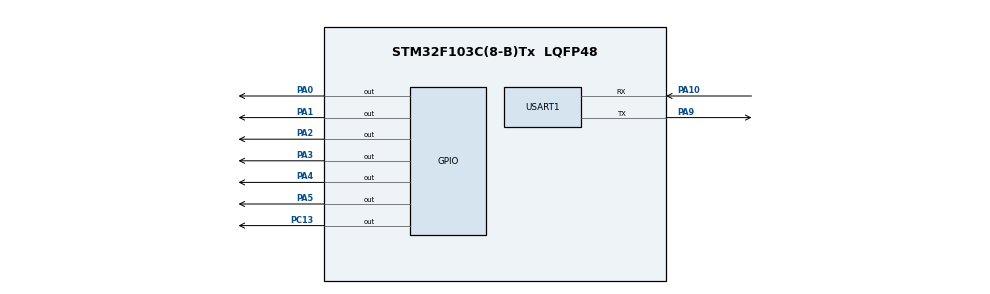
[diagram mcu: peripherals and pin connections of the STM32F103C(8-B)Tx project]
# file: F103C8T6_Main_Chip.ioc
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Mcu.Family=STM32F1
Mcu.Name=STM32F103C(8-B)Tx
Mcu.Package=LQFP48
NVIC.PriorityGroup=NVIC_PRIORITYGROUP_4
NVIC.TIM4_IRQn=true\:15\:0\:false\:false\:true\:false\:true\:true
NVIC.TimeBase=TIM4_IRQn
NVIC.TimeBaseIP=TIM4
NVIC.USART1_IRQn=true\:0\:0\:false\:false\:true\:true\:true\:true
PA0-WKUP.Signal=GPIO_Output
PA1.Signal=GPIO_Output
PA10.Mode=Asynchronous
PA10.Signal=USART1_RX
PA13.Mode=Serial_Wire
PA13.Signal=SYS_JTMS-SWDIO
PA14.Mode=Serial_Wire
PA14.Signal=SYS_JTCK-SWCLK
PA2.Signal=GPIO_Output
PA3.Signal=GPIO_Output
PA4.Signal=GPIO_Output
PA5.Signal=GPIO_Output
PA9.Mode=Asynchronous
PA9.Signal=USART1_TX
PC13-TAMPER-RTC.Signal=GPIO_Output
ProjectManager.HeapSize=0x200
ProjectManager.StackSize=0x400
ProjectManager.TargetToolchain=STM32CubeIDE
RCC.APB1Freq_Value=8000000
RCC.APB2Freq_Value=8000000
USART1.VirtualMode=VM_ASYNC
VP_SYS_VS_tim4.Mode=TIM4
board=custom

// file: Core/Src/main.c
/* USER CODE BEGIN Header */
/**
  ******************************************************************************
  * @file           : main.c
  * @brief          : Main program body
  ******************************************************************************
  * @attention
  *
  * Copyright (c) 2026 STMicroelectronics.
  * All rights reserved.
  *
  * This software is licensed under terms that can be found in the LICENSE file
  * in the root directory of this software component.
  * If no LICENSE file comes with this software, it is provided AS-IS.
  *
  ******************************************************************************
  */
/* USER CODE END Header */
#include "main.h"

/* USER CODE BEGIN Includes */
#include "FreeRTOS.h"
#include "task.h"
#include "queue.h"
#include "PlcConfig.h"
#include "GpioCommon.h"
#include "PlcGpio.h"
#include "PlcMainExecuteLogic.h"
#include "UartCommon.h"
#include "MainComn2WifiCard.h"
/* USER CODE END Includes */

UART_HandleTypeDef huart1;

void SystemClock_Config(void);
static void MX_GPIO_Init(void);
static void MX_USART1_UART_Init(void);

/* USER CODE BEGIN 0 */
/* ======= Varibale =======*/
uint8_t uart_rx_data;

/* For Queue */
QueueHandle_t xCommunicationQueueHandle;

/* ======= Prototype Function =======*/
void PLCScanTask(void* const pvParameters);
void CommunicationTask(void* const pvParameters);
void WatchdogTask(void* const pvParameters);
/* USER CODE END 0 */

int main(void)
{

  /* MCU Configuration--------------------------------------------------------*/

  /* Reset of all peripherals, Initializes the Flash interface and the Systick. */
  HAL_Init();

  /* Configure the system clock */
  SystemClock_Config();

  /* Initialize all configured peripherals */
  MX_GPIO_Init();
  MX_USART1_UART_Init();
  /* USER CODE BEGIN 2 */
  // Initialize all peripheral
  int8_t initialization_state = 1;
  int8_t initialization_variable = 1;
  int8_t initialization_bsp_uart = 0;

  initialization_state = MappingBspGpioOutputsToInternalOutputs() & 0x01;
  initialization_variable = InitializeVariable() & 0x01;
  initialization_bsp_uart = InitBspUart(&huart1) & 0x01;
  InitializeInternalFrameStructure();

  if ((initialization_state != 1) || \
	(initialization_variable != 1) || \
	(initialization_bsp_uart != 0))
  {
	  // Handle something here
  }

  /* Create Queue */
  xCommunicationQueueHandle = xQueueCreate(5, sizeof(uint8_t));
  configASSERT(xCommunicationQueueHandle != NULL);

  /* Create Tasks */
  BaseType_t xPLCScanReturned;
  BaseType_t xCommunicationReturned;
  BaseType_t xWatchdogReturned;

  xPLCScanReturned = xTaskCreate(PLCScanTask, "PLC Scan Task", 512, NULL, configMAX_PRIORITIES - 1, NULL);
  configASSERT(xPLCScanReturned == pdPASS);

  xCommunicationReturned = xTaskCreate(CommunicationTask, "Communication Task", 256, NULL, configMAX_PRIORITIES - 2, NULL);
  configASSERT(xCommunicationReturned == pdPASS);

  xWatchdogReturned = xTaskCreate(WatchdogTask, "Watchdog Task", 256, NULL, configMAX_PRIORITIES - 3, NULL);
  configASSERT(xWatchdogReturned == pdPASS);

  /* ======= Start Interrupt UART ======= */
  HAL_UART_Receive_IT(&huart1, &uart_rx_data, 1);

  /* ======= Start Scheduler ======= */
  vTaskStartScheduler();
  /* USER CODE END 2 */

  /* Infinite loop */
  while (1)
  {

  }
}

void SystemClock_Config(void)
{
  RCC_OscInitTypeDef RCC_OscInitStruct = {0};
  RCC_ClkInitTypeDef RCC_ClkInitStruct = {0};

  /** Initializes the RCC Oscillators according to the specified parameters
  * in the RCC_OscInitTypeDef structure.
  */
  RCC_OscInitStruct.OscillatorType = RCC_OSCILLATORTYPE_HSI;
  RCC_OscInitStruct.HSIState = RCC_HSI_ON;
  RCC_OscInitStruct.HSICalibrationValue = RCC_HSICALIBRATION_DEFAULT;
  RCC_OscInitStruct.PLL.PLLState = RCC_PLL_NONE;
  if (HAL_RCC_OscConfig(&RCC_OscInitStruct) != HAL_OK)
  {
    Error_Handler();
  }

  /** Initializes the CPU, AHB and APB buses clocks
  */
  RCC_ClkInitStruct.ClockType = RCC_CLOCKTYPE_HCLK|RCC_CLOCKTYPE_SYSCLK
                              |RCC_CLOCKTYPE_PCLK1|RCC_CLOCKTYPE_PCLK2;
  RCC_ClkInitStruct.SYSCLKSource = RCC_SYSCLKSOURCE_HSI;
  RCC_ClkInitStruct.AHBCLKDivider = RCC_SYSCLK_DIV1;
  RCC_ClkInitStruct.APB1CLKDivider = RCC_HCLK_DIV1;
  RCC_ClkInitStruct.APB2CLKDivider = RCC_HCLK_DIV1;

  if (HAL_RCC_ClockConfig(&RCC_ClkInitStruct, FLASH_LATENCY_0) != HAL_OK)
  {
    Error_Handler();
  }
}

static void MX_USART1_UART_Init(void)
{

  huart1.Instance = USART1;
  huart1.Init.BaudRate = 115200;
  huart1.Init.WordLength = UART_WORDLENGTH_8B;
  huart1.Init.StopBits = UART_STOPBITS_1;
  huart1.Init.Parity = UART_PARITY_NONE;
  huart1.Init.Mode = UART_MODE_TX_RX;
  huart1.Init.HwFlowCtl = UART_HWCONTROL_NONE;
  huart1.Init.OverSampling = UART_OVERSAMPLING_16;
  if (HAL_UART_Init(&huart1) != HAL_OK)
  {
    Error_Handler();
  }

}

static void MX_GPIO_Init(void)
{
  GPIO_InitTypeDef GPIO_InitStruct = {0};

  /* GPIO Ports Clock Enable */
  __HAL_RCC_GPIOC_CLK_ENABLE();
  __HAL_RCC_GPIOA_CLK_ENABLE();

  /*Configure GPIO pin Output Level */
  HAL_GPIO_WritePin(GPIOC, GPIO_PIN_13, GPIO_PIN_RESET);

  /*Configure GPIO pin Output Level */
  HAL_GPIO_WritePin(GPIOA, GPIO_PIN_0|GPIO_PIN_1|GPIO_PIN_2|GPIO_PIN_3
                          |GPIO_PIN_4|GPIO_PIN_5, GPIO_PIN_RESET);

  /*Configure GPIO pin : PC13 */
  GPIO_InitStruct.Pin = GPIO_PIN_13;
  GPIO_InitStruct.Mode = GPIO_MODE_OUTPUT_PP;
  GPIO_InitStruct.Pull = GPIO_NOPULL;
  GPIO_InitStruct.Speed = GPIO_SPEED_FREQ_LOW;
  HAL_GPIO_Init(GPIOC, &GPIO_InitStruct);

  /*Configure GPIO pins : PA0 PA1 PA2 PA3
                           PA4 PA5 */
  GPIO_InitStruct.Pin = GPIO_PIN_0|GPIO_PIN_1|GPIO_PIN_2|GPIO_PIN_3
                          |GPIO_PIN_4|GPIO_PIN_5;
  GPIO_InitStruct.Mode = GPIO_MODE_OUTPUT_PP;
  GPIO_InitStruct.Pull = GPIO_NOPULL;
  GPIO_InitStruct.Speed = GPIO_SPEED_FREQ_LOW;
  HAL_GPIO_Init(GPIOA, &GPIO_InitStruct);

}

/* USER CODE BEGIN 4 */
void PLCScanTask(void* const pvParameters)
{
	uint16_t output_image[OUTPUT_NUMBER];
	FrameStructure_t frame_structure;
	uint8_t cmd;

	InitializeBspGpioOutputs();
	InitPlcCore();
	SetPlcState(ePlcStateRun);

	TickType_t last_wake_time = xTaskGetTickCount();
	const TickType_t period = pdMS_TO_TICKS(PLC_SCAN_PERIOD_MS);

	while(1)
	{
		TickType_t scan_start = xTaskGetTickCount();

		BaseType_t frame_received = xQueueReceive(xCommunicationQueueHandle, &cmd, 2);

		if (frame_received == pdPASS) {
			if (cmd == PARSED_FRAME_OK) {
				GetFrame(&frame_structure);

				/* Handle frame here */
			}
		}

		/* Read Input Image */
		ReadPlcInputs();
		/* Execute Logic */
		/* User only execute logic in PLC_ExecuteLogic(), don't change anything in other files */
		ExecutePlcLogic(output_image);
		/* Update Output Image */
		UpdatePlcOutputs(output_image);
		/* Write to GPIO */
		WriteBspGpioOutputs(ReadOutputImage());
		/* Watchdog refresh */
		BSP_FeedWatchdog();

		vTaskDelayUntil(&last_wake_time, period);
	}
}

void CommunicationTask(void* const pvParameters)
{
	BspUartStatus_t uart_read = BSP_UART_OK;
	uint8_t rx_data_buffer[BSP_UART_RX_RING_BUF_SIZE];
	uint16_t output_read = 0;
	FrameParseStatus_t parse_frame_status;

	while(1)
	{
		uart_read = ReadBspUart(rx_data_buffer, GetBspUartAvailable(), &output_read);

		if (uart_read == BSP_UART_OK) {
			parse_frame_status = ParseFrame(rx_data_buffer, output_read);
		}

		if (parse_frame_status == PARSED_FRAME_OK) {
			uint8_t cmd = PARSED_FRAME_OK;
			xQueueSend(xCommunicationQueueHandle, &cmd, 1);
		}
	}
}

void WatchdogTask(void* const pvParameters)
{
	/* TO DO */
	//count_debug += 3;
	while(1)
	{

	}
}

/* ======= Interrupt Callback ======= */
void HAL_UART_RxCpltCallback(UART_HandleTypeDef *huart)
{
  if (huart->Instance == huart1.Instance) {
	  HandleBspUartIsrRx(uart_rx_data);
	  HAL_UART_Receive_IT(&huart1, &uart_rx_data, 1);
  }
}

/* USER CODE END 4 */

void HAL_TIM_PeriodElapsedCallback(TIM_HandleTypeDef *htim)
{
  if (htim->Instance == TIM4)
  {
    HAL_IncTick();
  }
}

void Error_Handler(void)
{
  __disable_irq();
  while (1)
  {
  }
}
